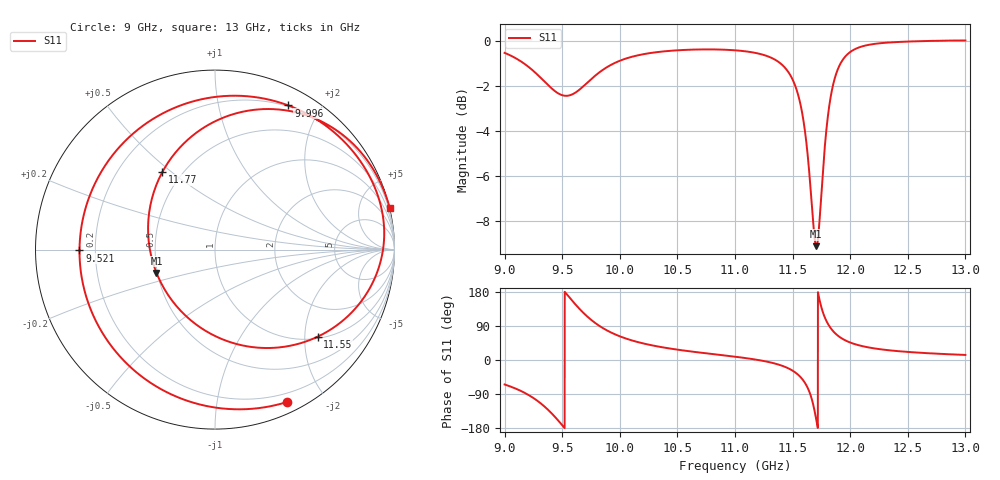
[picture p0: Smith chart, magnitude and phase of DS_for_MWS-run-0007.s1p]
! TOUCHSTONE file generated by CST DESIGN STUDIO
! Date and time: Tue Feb  4 14:10:42 2025
! Project name: C:\Work\MatlabApps\UnitCellOptimizationMatlab\CST\unitcell.cst
! Tree item: Tasks\Sweep1\SPara1\S-Parameters
! Header version: 2024
! Port assignment regex: !\s*Touchstone port\s*([0-9]+)\s*=\s*(CST MWS port|CST DES external port|CST DES block port)\s*(.+)\s* \(\"(.*)\"\)(\s*mode\s*([0-9]+))?.*
! Touchstone port assignment:
! Touchstone port 1 = CST DES external port 1 ("")
# GHz S MA R 50
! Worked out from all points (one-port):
!   4001 points, 9 GHz to 13 GHz, reference 50 ohm
!   lowest |S11| = -9.1 dB at 11.71 GHz (marker M1), VSWR 2.08, Z = 24.7 - j7.3 ohm
!   |S11| at or under -10 dB: nowhere
!   S11 on the Smith chart (normalised r, x): 9 GHz: 0.11, -1.58; 9.521 GHz: 0.14, -0.00; 9.996 GHz: 0.19, +1.62; 11.55 GHz: 1.04, -2.32; 11.77 GHz: 0.39, +0.47; 13 GHz: -0.02, +8.54
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9  0.9392 -64.6
9.169  0.8895 -85.9
9.288  0.8392 -108.4
9.39  0.7915 -135.2
9.5  0.757 -172.0
9.521  0.755 -179.6
9.611  0.7659 148.0
9.734  0.8139 110.4
9.844  0.8583 85.9
9.996  0.9013 63.0
10  0.9021 62.5
10.212  0.9336 43.1
10.5  0.9515 27.3
11  0.9515 8.7
11.329  0.9125 -7.9
11.5  0.8199 -28.1
11.553  0.7501 -40.3
11.64  0.527 -79.7
11.672  0.4152 -109.3
11.706  0.3508 -158.3
11.765  0.5224 124.1
11.804  0.6725 96.9
11.847  0.7888 77.8
11.917  0.8907 58.9
12  0.9433 46.1
12.183  0.9807 31.9
12.5  0.9948 21.3
13  1 13.4
